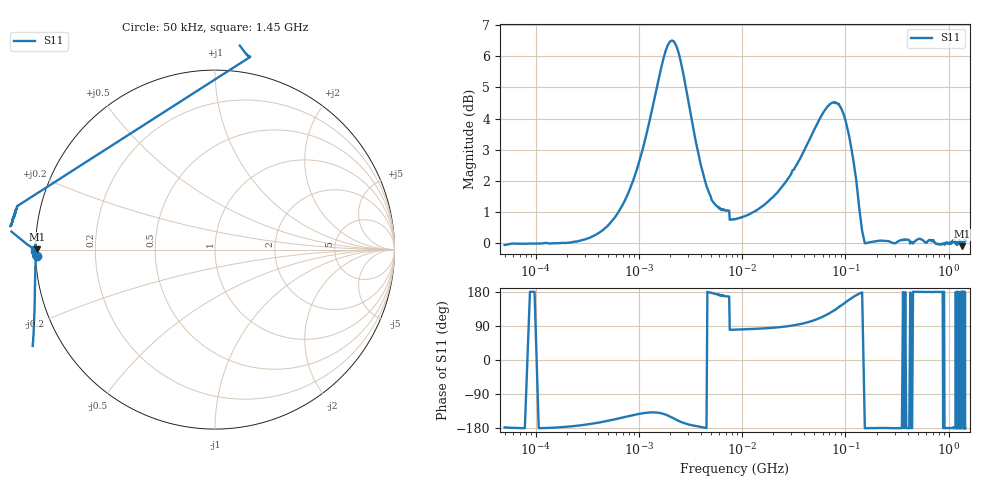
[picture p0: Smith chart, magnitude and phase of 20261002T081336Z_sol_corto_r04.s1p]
! prueba_sol / sol_corto / r04
# HZ S RI R 50
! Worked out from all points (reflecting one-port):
!   501 points, 50 kHz to 1.45 GHz, reference 50 ohm
!   lowest |S11| = -0.1 dB at 1.351 GHz (marker M1), VSWR 198.42, Z = 0.252 + j0.0504 ohm
!   phase of S11 starts at -178 deg and turns -2 deg over the sweep
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50000  -0.9935 -0.0362
183000  -1.001 -0.0524
363500  -1.003 -0.2239
658000  -1.013 -0.5092
1180000  -1.133 -0.9738
1630000  -1.463 -1.213
1990000  -1.801 -1.085
2170000  -1.895 -0.9208
2440000  -1.901 -0.6504
3070000  -1.637 -0.2715
4330000  -1.265 -0.0294
7300000  -1.103 0.2422
7750000  0.1946 1.074
8560000  0.1881 1.078
1.9e7  0.1097 1.174
3.16e7  -0.0354 1.312
4.69e7  -0.3222 1.453
6.76e7  -0.8611 1.419
7.93e7  -1.115 1.252
9.37e7  -1.354 0.8981
9.82e7  -1.385 0.7834
1e8  -1.39 0.7377
1.18e8  -1.33 0.3399
1.36e8  -1.134 0.1002
1.63e8  -1.002 -0.00278
4.06e8  -1.014 -0.00226
1.351e9  -0.99 0.002
1.45e9  -1.011 -0.00126
